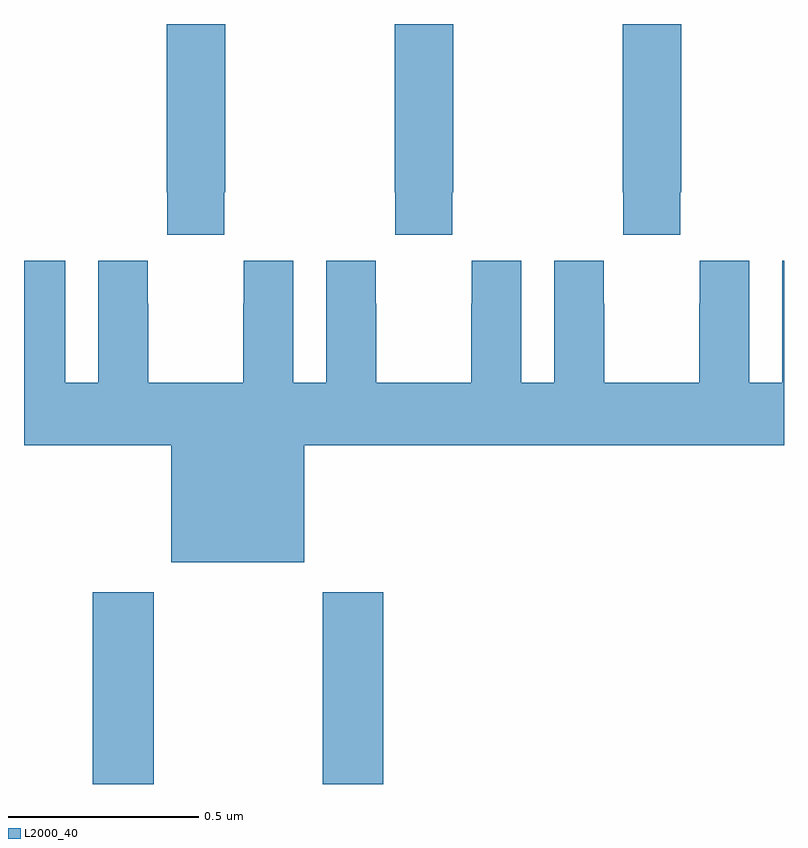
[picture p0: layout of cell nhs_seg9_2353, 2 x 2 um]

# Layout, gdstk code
import gdstk
lib = gdstk.Library(unit=1e-6, precision=1e-09)
def R(c, l, rs):  # rectangles x0, y0, x1, y1
    for r in rs: c.add(gdstk.rectangle(r[:2], r[2:], *l))
def P(c, l, *ps):  # polygons
    for p in ps: c.add(gdstk.Polygon(p, *l))
L2000_40 = (2000, 40)

nhs_seg9_2353 = lib.new_cell('nhs_seg9_2353')
R(nhs_seg9_2353, L2000_40, [(139.181,1223.5,139.341,1224.004), (139.786,1223.5,139.946,1224.004)])
P(nhs_seg9_2353, L2000_40, [(139.527,1225.057),(139.53,1225.057),(139.53,1225.5),(139.375,1225.5),(139.375,1225.057),(139.377,1225.057),(139.377,1224.945),(139.527,1224.945)],
  [(140.127,1225.057),(140.13,1225.057),(140.13,1225.5),(139.975,1225.5),(139.975,1225.057),(139.977,1225.057),(139.977,1224.945),(140.127,1224.945)],
  [(140.727,1225.057),(140.73,1225.057),(140.73,1225.5),(140.575,1225.5),(140.575,1225.057),(140.577,1225.057),(140.577,1224.945),(140.727,1224.945)],
  [(139.738,1224.392),(141,1224.392),(141,1224.877),(140.996,1224.877),(140.996,1224.556),(140.908,1224.556),(140.908,1224.877),(140.778,1224.877),(140.778,1224.764),(140.777,1224.764),(140.777,1224.556),(140.527,1224.556),(140.527,1224.764),(140.526,1224.764),(140.526,1224.877),(140.396,1224.877),(140.396,1224.556),(140.308,1224.556),(140.308,1224.877),(140.178,1224.877),(140.178,1224.764),(140.177,1224.764),(140.177,1224.556),(139.927,1224.556),(139.927,1224.764),(139.926,1224.764),(139.926,1224.877),(139.796,1224.877),(139.796,1224.556),(139.708,1224.556),(139.708,1224.877),(139.578,1224.877),(139.578,1224.764),(139.577,1224.764),(139.577,1224.556),(139.327,1224.556),(139.327,1224.764),(139.326,1224.764),(139.326,1224.877),(139.196,1224.877),(139.196,1224.556),(139.108,1224.556),(139.108,1224.877),(139,1224.877),(139,1224.392),(139.388,1224.392),(139.388,1224.083),(139.738,1224.083)])

lib.write_gds('nhs_seg9_2353.gds')
